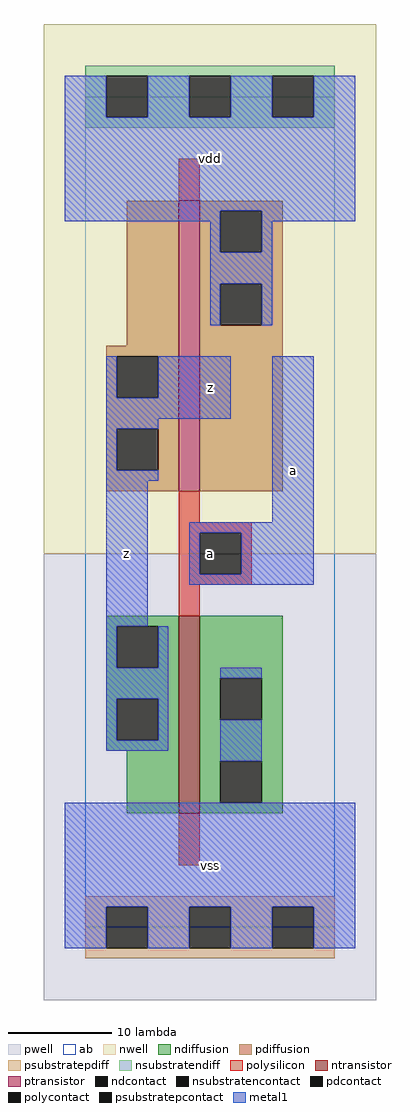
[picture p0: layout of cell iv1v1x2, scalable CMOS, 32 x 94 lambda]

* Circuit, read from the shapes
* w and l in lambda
.subckt iv1v1x2 a vdd vss z
M1 vss a z vss nfet w=19 l=2
M2 vdd a z vdd pfet w=28 l=2
.ends

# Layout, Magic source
magic
tech scmos
<< ab >>
rect 0 0 24 80
<< pwell >>
rect -4 -7 28 36
<< nwell >>
rect -4 36 28 87
<< polysilicon >>
rect 9 70 11 74
rect 9 39 11 42
rect 9 38 16 39
rect 9 34 11 38
rect 15 34 16 38
rect 9 33 16 34
rect 9 30 11 33
rect 9 6 11 11
<< ndiffusion >>
rect 2 29 9 30
rect 2 25 3 29
rect 7 25 9 29
rect 2 22 9 25
rect 2 18 3 22
rect 7 18 9 22
rect 2 17 9 18
rect 4 11 9 17
rect 11 24 19 30
rect 11 20 13 24
rect 17 20 19 24
rect 11 16 19 20
rect 11 12 13 16
rect 17 12 19 16
rect 11 11 19 12
<< pdiffusion >>
rect 4 56 9 70
rect 2 55 9 56
rect 2 51 3 55
rect 7 51 9 55
rect 2 48 9 51
rect 2 44 3 48
rect 7 44 9 48
rect 2 42 9 44
rect 11 69 19 70
rect 11 65 13 69
rect 17 65 19 69
rect 11 62 19 65
rect 11 58 13 62
rect 17 58 19 62
rect 11 42 19 58
<< metal1 >>
rect -2 78 2 82
rect 6 78 10 82
rect 14 78 18 82
rect 22 78 26 82
rect -2 69 26 78
rect -2 68 13 69
rect 12 65 13 68
rect 17 68 26 69
rect 17 65 18 68
rect 12 62 18 65
rect 12 58 13 62
rect 17 58 18 62
rect 2 51 3 55
rect 7 51 14 55
rect 2 49 14 51
rect 2 48 7 49
rect 2 44 3 48
rect 2 43 7 44
rect 2 29 6 43
rect 18 39 22 55
rect 10 38 22 39
rect 10 34 11 38
rect 15 34 22 38
rect 10 33 22 34
rect 2 25 3 29
rect 7 25 8 29
rect 2 22 8 25
rect 2 18 3 22
rect 7 18 8 22
rect 2 17 8 18
rect 13 24 17 25
rect 13 16 17 20
rect -2 2 26 12
rect -2 -2 2 2
rect 6 -2 10 2
rect 14 -2 18 2
rect 22 -2 26 2
<< ntransistor >>
rect 9 11 11 30
<< ptransistor >>
rect 9 42 11 70
<< polycontact >>
rect 11 34 15 38
<< ndcontact >>
rect 3 25 7 29
rect 3 18 7 22
rect 13 20 17 24
rect 13 12 17 16
<< pdcontact >>
rect 3 51 7 55
rect 3 44 7 48
rect 13 65 17 69
rect 13 58 17 62
<< psubstratepcontact >>
rect 2 -2 6 2
rect 10 -2 14 2
rect 18 -2 22 2
<< nsubstratencontact >>
rect 2 78 6 82
rect 10 78 14 82
rect 18 78 22 82
<< psubstratepdiff >>
rect 0 2 24 3
rect 0 -2 2 2
rect 6 -2 10 2
rect 14 -2 18 2
rect 22 -2 24 2
rect 0 -3 24 -2
<< nsubstratendiff >>
rect 0 82 24 83
rect 0 78 2 82
rect 6 78 10 82
rect 14 78 18 82
rect 22 78 24 82
rect 0 77 24 78
<< labels >>
rlabel metal1 4 36 4 36 6 z
rlabel metal1 12 6 12 6 6 vss
rlabel polycontact 12 36 12 36 6 a
rlabel metal1 12 52 12 52 6 z
rlabel metal1 12 74 12 74 6 vdd
rlabel metal1 20 44 20 44 6 a
<< end >>
